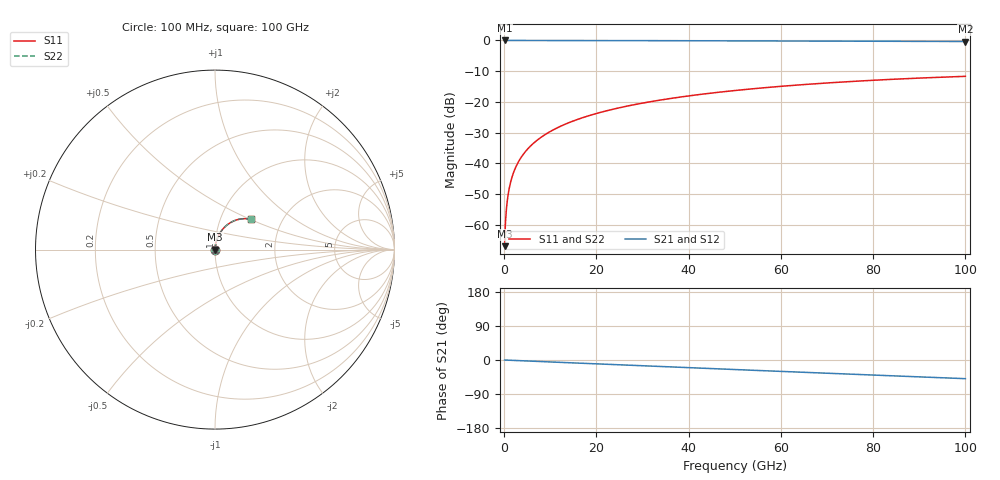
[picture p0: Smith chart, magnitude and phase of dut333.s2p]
! Touchstone file exported from HFSS 2026.1.0
!  File:  C:/ffzhzh/LocalFiles/Ansys_Project_Files/temp_train_TSV_333_1783509733_31944.aedt
!  Generated:  07:23:37 PM Jul  8, 2026
!  Design:  TSV
!  Project:  temp_train_TSV_333_1783509733_31944
! Variables:
!  h_bsmrdl = 2um
!  h_ox = 20um
!  h_rdl = 5um
!  h_sub = 94.43um
!  h_tmrdl = 5um
!  h_tsv = 94.43um
!  h_via = 3um
!  l_bsmrdl = 300um
!  l_sub = 414.02um
!  l_tmrdl = 200um
!  m_sub = 200um
!  pitch = 48.39um
!  r_tsv = 7.01um
!  s_tmrdl = 10um
!  w_bsmrdl = 18um
!  w_sub = 500um
!  w_tmrdl = 12um
!  x_tsv_center1 = 206um
!  x_tsv_center2 = 524um
!  x_tsv_center3 = 736um
!  x_tsv_center4 = 1054um
!  x_tsv_center5 = 1266um
!  x_tsv_center6 = 1584um
# GHz S MA R 50.000000
! Terminal data exported
! Port[1] = TSV1_1_T1
! Port[2] = TSV1_1_T2
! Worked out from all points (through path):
!   1000 points, 100 MHz to 100 GHz, reference 50 ohm
!   highest |S21| = 0.00 dB at 100 MHz (marker M1); lowest = -0.3 dB at 100 GHz (marker M2)
!   group delay of S21, straight-line fit = 1.37 ps
!   lowest |S11| = -66.9 dB at 100 MHz (marker M3), VSWR 1.00, Z = 50 + j0.0375 ohm
!   |S11| at or under -10 dB: start of sweep to end of sweep
!   |S22| runs from -66.9 to -11.7 dB; largest |S21 - S12| = 4.5e-15
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0.1  0.000453 55.9  0.9997 -0.1  0.9997 -0.1  0.000453 55.9
! Gamma 0 0 0 0
! Port Impedance 50 0 50 0
0.4  0.001499 78.1  0.9997 -0.2  0.9997 -0.2  0.001499 78.1
0.7  0.002547 81.6  0.9996 -0.4  0.9996 -0.4  0.002547 81.6
0.8  0.002895 82.2  0.9996 -0.4  0.9996 -0.4  0.002895 82.2
1  0.003587 83.0  0.9996 -0.5  0.9996 -0.5  0.003587 83.0
1.3  0.004619 83.7  0.9995 -0.7  0.9995 -0.7  0.004619 83.7
1.7  0.005983 84.1  0.9995 -0.9  0.9995 -0.9  0.005983 84.1
2.3  0.008003 84.4  0.9993 -1.2  0.9993 -1.2  0.008003 84.4
3  0.01033 84.4  0.9992 -1.6  0.9992 -1.6  0.01033 84.4
3.8  0.01296 84.4  0.9991 -2.0  0.9991 -2.0  0.01296 84.4
4.8  0.01624 84.3  0.9989 -2.5  0.9989 -2.5  0.01624 84.3
6  0.02016 84.0  0.9988 -3.1  0.9988 -3.1  0.02016 84.0
8.8  0.02925 83.1  0.9983 -4.5  0.9983 -4.5  0.02925 83.1
12.4  0.04085 81.6  0.9977 -6.3  0.9977 -6.3  0.04085 81.6
16.8  0.05488 79.6  0.9968 -8.6  0.9968 -8.6  0.05488 79.6
24.2  0.07808 76.2  0.9949 -12.3  0.9949 -12.3  0.07808 76.2
33.4  0.1061 71.8  0.9919 -16.9  0.9919 -16.9  0.1061 71.8
41.2  0.1289 68.0  0.989 -20.8  0.989 -20.8  0.1289 68.0
50.1  0.1537 63.7  0.9852 -25.2  0.9852 -25.2  0.1537 63.7
66.7  0.1959 55.7  0.9774 -33.3  0.9774 -33.3  0.1959 55.8
83.4  0.2321 47.8  0.9691 -41.4  0.9691 -41.4  0.2321 47.8
100  0.2609 40.0  0.9615 -49.3  0.9615 -49.3  0.2609 40.1
